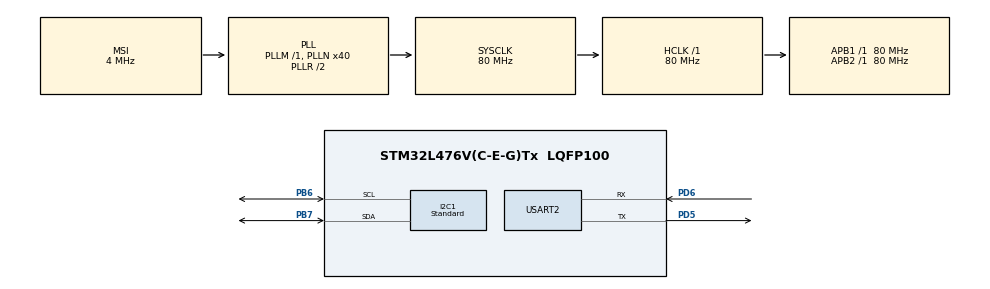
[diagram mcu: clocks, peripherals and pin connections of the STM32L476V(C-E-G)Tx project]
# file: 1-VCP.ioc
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ADC1.Channel-24\#ChannelRegularConversion=ADC_CHANNEL_VREFINT
ADC1.ClockPrescaler=ADC_CLOCK_ASYNC_DIV256
ADC1.NbrOfConversionFlag=1
ADC1.OffsetNumber-24\#ChannelRegularConversion=ADC_OFFSET_NONE
ADC1.Rank-24\#ChannelRegularConversion=1
ADC1.SamplingTime-24\#ChannelRegularConversion=ADC_SAMPLETIME_640CYCLES_5
ADC1.master=1
I2C1.I2C_Speed_Mode=I2C_Standard
Mcu.Family=STM32L4
Mcu.Name=STM32L476V(C-E-G)Tx
Mcu.Package=LQFP100
NVIC.PriorityGroup=NVIC_PRIORITYGROUP_4
NVIC.USART2_IRQn=true\:0\:0\:false\:false\:true\:true
PA0.Signal=ADCx_IN5
PA13\ (JTMS-SWDIO).Mode=Serial_Wire
PA13\ (JTMS-SWDIO).Signal=SYS_JTMS-SWDIO
PA14\ (JTCK-SWCLK).Mode=Serial_Wire
PA14\ (JTCK-SWCLK).Signal=SYS_JTCK-SWCLK
PB6.Mode=I2C
PB6.Signal=I2C1_SCL
PB7.Mode=I2C
PB7.Signal=I2C1_SDA
PD5.Mode=Asynchronous
PD5.Signal=USART2_TX
PD6.Mode=Asynchronous
PD6.Signal=USART2_RX
ProjectManager.HeapSize=0x200
ProjectManager.StackSize=0x400
ProjectManager.TargetToolchain=MDK-ARM V5
RCC.ADCFreq_Value=48000000
RCC.AHBFreq_Value=80000000
RCC.APB1Freq_Value=80000000
RCC.APB1TimFreq_Value=80000000
RCC.APB2Freq_Value=80000000
RCC.APB2TimFreq_Value=80000000
RCC.CortexFreq_Value=80000000
RCC.HCLKFreq_Value=80000000
RCC.HSE_VALUE=8000000
RCC.HSI_VALUE=16000000
RCC.LSE_VALUE=32768
RCC.MSI_VALUE=4000000
RCC.PLLN=40
RCC.PLLSAI1N=24
RCC.SYSCLKFreq_VALUE=80000000
RCC.SYSCLKSource=RCC_SYSCLKSOURCE_PLLCLK
RCC.USBFreq_Value=48000000
RCC.VCOOutputFreq_Value=160000000
SH.ADCx_IN5.0=ADC1_IN5
USART2.VirtualMode-Asynchronous=VM_ASYNC
USART2.WordLength=WORDLENGTH_8B
VP_ADC1_Vref_Input.Mode=IN-Vrefint
board=1-VCP

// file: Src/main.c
/**
  ******************************************************************************
  * File Name          : main.c
  * Description        : Main program body
  ******************************************************************************
  ** This notice applies to any and all portions of this file
  * that are not between comment pairs USER CODE BEGIN and
  * USER CODE END. Other portions of this file, whether
  * inserted by the user or by software development tools
  * are owned by their respective copyright owners.
  *
  * COPYRIGHT(c) 2018 STMicroelectronics
  *
  * Redistribution and use in source and binary forms, with or without modification,
  * are permitted provided that the following conditions are met:
  *   1. Redistributions of source code must retain the above copyright notice,
  *      this list of conditions and the following disclaimer.
  *   2. Redistributions in binary form must reproduce the above copyright notice,
  *      this list of conditions and the following disclaimer in the documentation
  *      and/or other materials provided with the distribution.
  *   3. Neither the name of STMicroelectronics nor the names of its contributors
  *      may be used to endorse or promote products derived from this software
  *      without specific prior written permission.
  *
  * THIS SOFTWARE IS PROVIDED BY THE COPYRIGHT HOLDERS AND CONTRIBUTORS "AS IS"
  * AND ANY EXPRESS OR IMPLIED WARRANTIES, INCLUDING, BUT NOT LIMITED TO, THE
  * IMPLIED WARRANTIES OF MERCHANTABILITY AND FITNESS FOR A PARTICULAR PURPOSE ARE
  * DISCLAIMED. IN NO EVENT SHALL THE COPYRIGHT HOLDER OR CONTRIBUTORS BE LIABLE
  * FOR ANY DIRECT, INDIRECT, INCIDENTAL, SPECIAL, EXEMPLARY, OR CONSEQUENTIAL
  * DAMAGES (INCLUDING, BUT NOT LIMITED TO, PROCUREMENT OF SUBSTITUTE GOODS OR
  * SERVICES; LOSS OF USE, DATA, OR PROFITS; OR BUSINESS INTERRUPTION) HOWEVER
  * CAUSED AND ON ANY THEORY OF LIABILITY, WHETHER IN CONTRACT, STRICT LIABILITY,
  * OR TORT (INCLUDING NEGLIGENCE OR OTHERWISE) ARISING IN ANY WAY OUT OF THE USE
  * OF THIS SOFTWARE, EVEN IF ADVISED OF THE POSSIBILITY OF SUCH DAMAGE.
  *
  ******************************************************************************
  */

#include "main.h"
#include "stm32l4xx_hal.h"

/* USER CODE BEGIN Includes */
#include "math.h"

#define BMP180_Address 0x77<<1
#define TS_CAL1 (*(uint16_t *) 0x1FFF75A8)
#define TS_CAL2 (*(uint16_t *) 0x1FFF75CA)
#define T_CAL1 30
#define T_CAL2 110

/* USER CODE END Includes */

ADC_HandleTypeDef hadc1;

I2C_HandleTypeDef hi2c1;

UART_HandleTypeDef huart2;

/* USER CODE BEGIN PV */
/* Private variables ---------------------------------------------------------*/
uint8_t Dane_Kalibracyjne[22],Odczytane_dane[2];
uint8_t oversampling_setting;
int16_t AC1,AC2,AC3,B1,B2,MB,MC,MD;
uint16_t AC4,AC5,AC6;
uint8_t Dane_Do_Wyslania;
int32_t UT,X1,X2,X3,T,UP,B3,B5,B6,p;
uint32_t B4,B7;
uint8_t Received;
uint8_t Ready = 0;
uint8_t pDAta[2];
double Cisnienie,Altidude;

uint16_t PomiarADC;
float Temperature;
float Vsense;

/* USER CODE END PV */

void SystemClock_Config(void);
static void MX_GPIO_Init(void);
static void MX_USART2_UART_Init(void);
static void MX_I2C1_Init(void);
static void MX_ADC1_Init(void);

/* USER CODE BEGIN PFP */
/* Private function prototypes -----------------------------------------------*/
void HAL_UART_RxCpltCallback(UART_HandleTypeDef *huart) {

 uint8_t Data; // Tablica przechowujaca wysylana wiadomosc.
 uint16_t size = 1; // Rozmiar wysylanej wiadomosci
 HAL_UART_Transmit_IT(&huart2, &Data, size); // Rozpoczecie nadawania danych z wykorzystaniem przerwan
 HAL_UART_Receive_IT(&huart2, &Received, 1); // Ponowne wlaczenie nasluchiwania
 }
/* USER CODE END PFP */

int main(void)
{

  /* USER CODE BEGIN 1 */
	Dane_Do_Wyslania = 0x2E;
	oversampling_setting =1;

  /* USER CODE END 1 */

  /* MCU Configuration----------------------------------------------------------*/

  /* Reset of all peripherals, Initializes the Flash interface and the Systick. */
  HAL_Init();

  /* Configure the system clock */
  SystemClock_Config();

  /* Initialize all configured peripherals */
  MX_GPIO_Init();
  MX_USART2_UART_Init();
  MX_I2C1_Init();
  MX_ADC1_Init();

  /* USER CODE BEGIN 2 */

	HAL_I2C_Mem_Read(&hi2c1,BMP180_Address,0xAA,1,Dane_Kalibracyjne,22,100);
	AC1 = (Dane_Kalibracyjne[0]<<8) | Dane_Kalibracyjne[1];
	AC2 = (Dane_Kalibracyjne[2]<<8) | Dane_Kalibracyjne[3];
	AC3 = (Dane_Kalibracyjne[4]<<8) | Dane_Kalibracyjne[5];
	AC4 = (Dane_Kalibracyjne[6]<<8) | Dane_Kalibracyjne[7];
	AC5 = (Dane_Kalibracyjne[8]<<8) | Dane_Kalibracyjne[9];
	AC6 = (Dane_Kalibracyjne[10]<<8) | Dane_Kalibracyjne[11];
	B1 = (Dane_Kalibracyjne[12]<<8) | Dane_Kalibracyjne[13];
	B2 = (Dane_Kalibracyjne[14]<<8) | Dane_Kalibracyjne[15];
	MB = (Dane_Kalibracyjne[16]<<8) | Dane_Kalibracyjne[17];
	MC = (Dane_Kalibracyjne[18]<<8) | Dane_Kalibracyjne[19];
	MD = (Dane_Kalibracyjne[20]<<8) | Dane_Kalibracyjne[21];

  /* USER CODE END 2 */

  /* Infinite loop */
  /* USER CODE BEGIN WHILE */
  while (1)
  {
/*
	Dane_Do_Wyslania = 0x2E;
	HAL_I2C_Mem_Write(&hi2c1,BMP180_Address,0xF4,1,&Dane_Do_Wyslania,1,100);
	HAL_Delay(5);
	HAL_I2C_Mem_Read(&hi2c1,BMP180_Address,0xF6,1,Odczytane_dane,2,100);
	UT = (Odczytane_dane[0]<<8) | Odczytane_dane[1];

	Dane_Do_Wyslania = 0x34|(oversampling_setting<<6);

	HAL_I2C_Mem_Write(&hi2c1,BMP180_Address,0xF4,1,&Dane_Do_Wyslania,1,100);
	HAL_Delay(8);
	HAL_I2C_Mem_Read(&hi2c1,BMP180_Address,0xF6,1,Dane_Kalibracyjne,3,100);
	UP=(Dane_Kalibracyjne[0]<<16 | Dane_Kalibracyjne[1]<<8 | Dane_Kalibracyjne[2]) >>(8-oversampling_setting);

	X1 = ((UT-AC6)*AC5)>>15;
	X2 = (MC<<11)/(X1+MD);
	B5 = X1 + X2;
	T = (B5+8)>>4;

	B6=B5-4000;
	X1 = B2 * ( B6 * B6 / 4096)/2048;
	X2 = AC2 * B6 / 2048;
	X3 = X1 + X2;
	B3 = (((AC1 * 4 + X3) << oversampling_setting) + 2 ) / 4;
	X1 = (AC3 * B6) >> 13;
	X2 = (B1 * (B6 *B6 >> 12 )) >>16;
	X3 = ((X1 + X2) + 2) / 4;
	B4 = AC4 *(uint32_t)(X3+32768)>>15;
	B7 = ((uint32_t) UP-B3) * (50000 >> oversampling_setting );

	if ( B7 < 0x80000000)
	{
		p = (B7 *2) / B4;
	}
	else
	{
		p = ( B7 / B4) * 2;
	}

	X1 = (p >> 8) * (p >> 8);
	X1 = (X1 * 3038) >> 16;
	X2 = (-7357 * p) >> 16;
	Cisnienie = p + ((X1 + X2 + 3791) >> 4);
	Cisnienie /= 100;

	Altidude = 44330 * (1-pow((Cisnienie/1016.05),1/5.255));
	*/
	HAL_ADC_Start(&hadc1);

	if(HAL_ADC_PollForConversion(&hadc1,10) == HAL_OK)
	{
		PomiarADC = HAL_ADC_GetValue(&hadc1);
		HAL_ADC_Start(&hadc1);
	}

}
  /* USER CODE END WHILE */

  }

/** System Clock Configuration
*/
void SystemClock_Config(void)
{

  RCC_OscInitTypeDef RCC_OscInitStruct;
  RCC_ClkInitTypeDef RCC_ClkInitStruct;
  RCC_PeriphCLKInitTypeDef PeriphClkInit;

    /**Initializes the CPU, AHB and APB busses clocks
    */
  RCC_OscInitStruct.OscillatorType = RCC_OSCILLATORTYPE_MSI;
  RCC_OscInitStruct.MSIState = RCC_MSI_ON;
  RCC_OscInitStruct.MSICalibrationValue = 0;
  RCC_OscInitStruct.MSIClockRange = RCC_MSIRANGE_6;
  RCC_OscInitStruct.PLL.PLLState = RCC_PLL_ON;
  RCC_OscInitStruct.PLL.PLLSource = RCC_PLLSOURCE_MSI;
  RCC_OscInitStruct.PLL.PLLM = 1;
  RCC_OscInitStruct.PLL.PLLN = 40;
  RCC_OscInitStruct.PLL.PLLP = RCC_PLLP_DIV7;
  RCC_OscInitStruct.PLL.PLLQ = RCC_PLLQ_DIV2;
  RCC_OscInitStruct.PLL.PLLR = RCC_PLLR_DIV2;
  if (HAL_RCC_OscConfig(&RCC_OscInitStruct) != HAL_OK)
  {
    _Error_Handler(__FILE__, __LINE__);
  }

    /**Initializes the CPU, AHB and APB busses clocks
    */
  RCC_ClkInitStruct.ClockType = RCC_CLOCKTYPE_HCLK|RCC_CLOCKTYPE_SYSCLK
                              |RCC_CLOCKTYPE_PCLK1|RCC_CLOCKTYPE_PCLK2;
  RCC_ClkInitStruct.SYSCLKSource = RCC_SYSCLKSOURCE_PLLCLK;
  RCC_ClkInitStruct.AHBCLKDivider = RCC_SYSCLK_DIV1;
  RCC_ClkInitStruct.APB1CLKDivider = RCC_HCLK_DIV1;
  RCC_ClkInitStruct.APB2CLKDivider = RCC_HCLK_DIV1;

  if (HAL_RCC_ClockConfig(&RCC_ClkInitStruct, FLASH_LATENCY_3) != HAL_OK)
  {
    _Error_Handler(__FILE__, __LINE__);
  }

  PeriphClkInit.PeriphClockSelection = RCC_PERIPHCLK_USART2|RCC_PERIPHCLK_I2C1
                              |RCC_PERIPHCLK_ADC;
  PeriphClkInit.Usart2ClockSelection = RCC_USART2CLKSOURCE_PCLK1;
  PeriphClkInit.I2c1ClockSelection = RCC_I2C1CLKSOURCE_PCLK1;
  PeriphClkInit.AdcClockSelection = RCC_ADCCLKSOURCE_PLLSAI1;
  PeriphClkInit.PLLSAI1.PLLSAI1Source = RCC_PLLSOURCE_MSI;
  PeriphClkInit.PLLSAI1.PLLSAI1M = 1;
  PeriphClkInit.PLLSAI1.PLLSAI1N = 24;
  PeriphClkInit.PLLSAI1.PLLSAI1P = RCC_PLLP_DIV7;
  PeriphClkInit.PLLSAI1.PLLSAI1Q = RCC_PLLQ_DIV2;
  PeriphClkInit.PLLSAI1.PLLSAI1R = RCC_PLLR_DIV2;
  PeriphClkInit.PLLSAI1.PLLSAI1ClockOut = RCC_PLLSAI1_ADC1CLK;
  if (HAL_RCCEx_PeriphCLKConfig(&PeriphClkInit) != HAL_OK)
  {
    _Error_Handler(__FILE__, __LINE__);
  }

    /**Configure the main internal regulator output voltage
    */
  if (HAL_PWREx_ControlVoltageScaling(PWR_REGULATOR_VOLTAGE_SCALE1) != HAL_OK)
  {
    _Error_Handler(__FILE__, __LINE__);
  }

    /**Configure the Systick interrupt time
    */
  HAL_SYSTICK_Config(HAL_RCC_GetHCLKFreq()/1000);

    /**Configure the Systick
    */
  HAL_SYSTICK_CLKSourceConfig(SYSTICK_CLKSOURCE_HCLK);

  /* SysTick_IRQn interrupt configuration */
  HAL_NVIC_SetPriority(SysTick_IRQn, 0, 0);
}

/* ADC1 init function */
static void MX_ADC1_Init(void)
{

  ADC_MultiModeTypeDef multimode;
  ADC_ChannelConfTypeDef sConfig;

    /**Common config
    */
  hadc1.Instance = ADC1;
  hadc1.Init.ClockPrescaler = ADC_CLOCK_ASYNC_DIV256;
  hadc1.Init.Resolution = ADC_RESOLUTION_12B;
  hadc1.Init.DataAlign = ADC_DATAALIGN_RIGHT;
  hadc1.Init.ScanConvMode = ADC_SCAN_DISABLE;
  hadc1.Init.EOCSelection = ADC_EOC_SINGLE_CONV;
  hadc1.Init.LowPowerAutoWait = DISABLE;
  hadc1.Init.ContinuousConvMode = DISABLE;
  hadc1.Init.NbrOfConversion = 1;
  hadc1.Init.DiscontinuousConvMode = DISABLE;
  hadc1.Init.NbrOfDiscConversion = 1;
  hadc1.Init.ExternalTrigConv = ADC_SOFTWARE_START;
  hadc1.Init.ExternalTrigConvEdge = ADC_EXTERNALTRIGCONVEDGE_NONE;
  hadc1.Init.DMAContinuousRequests = DISABLE;
  hadc1.Init.Overrun = ADC_OVR_DATA_PRESERVED;
  hadc1.Init.OversamplingMode = DISABLE;
  if (HAL_ADC_Init(&hadc1) != HAL_OK)
  {
    _Error_Handler(__FILE__, __LINE__);
  }

    /**Configure the ADC multi-mode
    */
  multimode.Mode = ADC_MODE_INDEPENDENT;
  if (HAL_ADCEx_MultiModeConfigChannel(&hadc1, &multimode) != HAL_OK)
  {
    _Error_Handler(__FILE__, __LINE__);
  }

    /**Configure Regular Channel
    */
  sConfig.Channel = ADC_CHANNEL_VREFINT;
  sConfig.Rank = 1;
  sConfig.SamplingTime = ADC_SAMPLETIME_640CYCLES_5;
  sConfig.SingleDiff = ADC_SINGLE_ENDED;
  sConfig.OffsetNumber = ADC_OFFSET_NONE;
  sConfig.Offset = 0;
  if (HAL_ADC_ConfigChannel(&hadc1, &sConfig) != HAL_OK)
  {
    _Error_Handler(__FILE__, __LINE__);
  }

}

/* I2C1 init function */
static void MX_I2C1_Init(void)
{

  hi2c1.Instance = I2C1;
  hi2c1.Init.Timing = 0x10909CEC;
  hi2c1.Init.OwnAddress1 = 0;
  hi2c1.Init.AddressingMode = I2C_ADDRESSINGMODE_7BIT;
  hi2c1.Init.DualAddressMode = I2C_DUALADDRESS_DISABLE;
  hi2c1.Init.OwnAddress2 = 0;
  hi2c1.Init.OwnAddress2Masks = I2C_OA2_NOMASK;
  hi2c1.Init.GeneralCallMode = I2C_GENERALCALL_DISABLE;
  hi2c1.Init.NoStretchMode = I2C_NOSTRETCH_DISABLE;
  if (HAL_I2C_Init(&hi2c1) != HAL_OK)
  {
    _Error_Handler(__FILE__, __LINE__);
  }

    /**Configure Analogue filter
    */
  if (HAL_I2CEx_ConfigAnalogFilter(&hi2c1, I2C_ANALOGFILTER_ENABLE) != HAL_OK)
  {
    _Error_Handler(__FILE__, __LINE__);
  }

    /**Configure Digital filter
    */
  if (HAL_I2CEx_ConfigDigitalFilter(&hi2c1, 0) != HAL_OK)
  {
    _Error_Handler(__FILE__, __LINE__);
  }

}

/* USART2 init function */
static void MX_USART2_UART_Init(void)
{

  huart2.Instance = USART2;
  huart2.Init.BaudRate = 115200;
  huart2.Init.WordLength = UART_WORDLENGTH_8B;
  huart2.Init.StopBits = UART_STOPBITS_1;
  huart2.Init.Parity = UART_PARITY_NONE;
  huart2.Init.Mode = UART_MODE_TX_RX;
  huart2.Init.HwFlowCtl = UART_HWCONTROL_NONE;
  huart2.Init.OverSampling = UART_OVERSAMPLING_16;
  huart2.Init.OneBitSampling = UART_ONE_BIT_SAMPLE_DISABLE;
  huart2.AdvancedInit.AdvFeatureInit = UART_ADVFEATURE_NO_INIT;
  if (HAL_UART_Init(&huart2) != HAL_OK)
  {
    _Error_Handler(__FILE__, __LINE__);
  }

}

/** Configure pins as
        * Analog
        * Input
        * Output
        * EVENT_OUT
        * EXTI
*/
static void MX_GPIO_Init(void)
{

  /* GPIO Ports Clock Enable */
  __HAL_RCC_GPIOA_CLK_ENABLE();
  __HAL_RCC_GPIOD_CLK_ENABLE();
  __HAL_RCC_GPIOB_CLK_ENABLE();

}

void _Error_Handler(char * file, int line)
{
  while(1)
  {
  }
}

/************************ (C) COPYRIGHT STMicroelectronics *****END OF FILE****/
